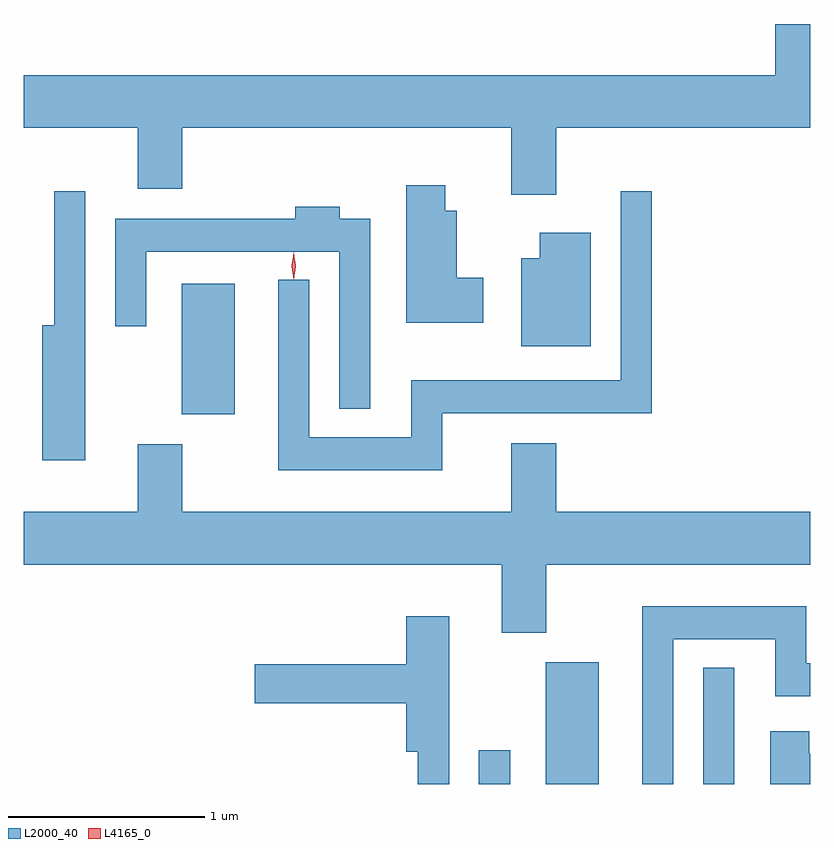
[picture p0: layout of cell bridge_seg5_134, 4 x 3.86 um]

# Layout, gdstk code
import gdstk
lib = gdstk.Library(unit=1e-6, precision=1e-09)
def R(c, l, rs):  # rectangles x0, y0, x1, y1
    for r in rs: c.add(gdstk.rectangle(r[:2], r[2:], *l))
def P(c, l, *ps):  # polygons
    for p in ps: c.add(gdstk.Polygon(p, *l))
L2000_40 = (2000, 40)
L4165_0 = (4165, 0)

bridge_seg5_134 = lib.new_cell('bridge_seg5_134')
R(bridge_seg5_134, L2000_40, [(1176.926,1415.721,1177.084,1415.893), (1177.266,1415.721,1177.534,1416.339), (1178.066,1415.721,1178.224,1416.313), (1175.416,1417.601,1175.684,1418.264)])
P(bridge_seg5_134, L2000_40, [(1177.319,1419.056),(1178.611,1419.056),(1178.611,1419.584),(1178.431,1419.584),(1178.431,1419.324),(1174.611,1419.324),(1174.611,1419.056),(1175.191,1419.056),(1175.191,1418.746),(1175.419,1418.746),(1175.419,1419.056),(1177.091,1419.056),(1177.091,1418.716),(1177.319,1418.716)],
  [(1176.949,1418.294),(1176.814,1418.294),(1176.814,1418.634),(1176.754,1418.634),(1176.754,1418.764),(1176.556,1418.764),(1176.556,1418.066),(1176.949,1418.066)],
  [(1176.739,1417.606),(1177.804,1417.606),(1177.804,1418.733),(1177.646,1418.733),(1177.646,1417.774),(1176.581,1417.774),(1176.581,1417.484),(1176.064,1417.484),(1176.064,1418.283),(1175.906,1418.283),(1175.906,1417.316),(1176.739,1417.316)],
  [(1174.924,1418.733),(1174.766,1418.733),(1174.766,1418.054),(1174.706,1418.054),(1174.706,1417.366),(1174.924,1417.366)],
  [(1176.374,1418.594),(1176.219,1418.594),(1176.219,1418.654),(1175.991,1418.654),(1175.991,1418.594),(1175.076,1418.594),(1175.076,1418.048),(1175.234,1418.048),(1175.234,1418.426),(1176.216,1418.426),(1176.216,1417.628),(1176.374,1417.628)],
  [(1177.494,1418.524),(1177.236,1418.524),(1177.236,1418.394),(1177.141,1418.394),(1177.141,1417.946),(1177.494,1417.946)],
  [(1177.269,1416.836),(1178.611,1416.836),(1178.611,1417.104),(1177.319,1417.104),(1177.319,1417.454),(1177.091,1417.454),(1177.091,1417.104),(1175.419,1417.104),(1175.419,1417.449),(1175.191,1417.449),(1175.191,1417.104),(1174.611,1417.104),(1174.611,1416.836),(1177.041,1416.836),(1177.041,1416.491),(1177.269,1416.491)],
  [(1177.914,1416.456),(1178.431,1416.456),(1178.431,1416.166),(1178.611,1416.166),(1178.611,1416.334),(1178.589,1416.334),(1178.589,1416.624),(1177.756,1416.624),(1177.756,1415.721),(1177.914,1415.721)],
  [(1176.774,1416.574),(1176.556,1416.574),(1176.556,1416.329),(1175.786,1416.329),(1175.786,1416.131),(1176.556,1416.131),(1176.556,1415.886),(1176.616,1415.886),(1176.616,1415.721),(1176.774,1415.721)],
  [(1178.611,1415.874),(1178.604,1415.874),(1178.604,1415.989),(1178.406,1415.989),(1178.406,1415.721),(1178.611,1415.721)])
P(bridge_seg5_134, L4165_0, [(1175.984,1418.287),(1175.984,1418.288),(1175.974,1418.354),(1175.984,1418.42),(1175.984,1418.42),(1175.985,1418.42),(1175.994,1418.354),(1175.985,1418.288)],
  [(1175.984,1418.284),(1175.975,1418.353),(1175.984,1418.422),(1175.985,1418.423),(1175.985,1418.422),(1175.995,1418.353),(1175.985,1418.284),(1175.985,1418.284)])

lib.write_gds('bridge_seg5_134.gds')
